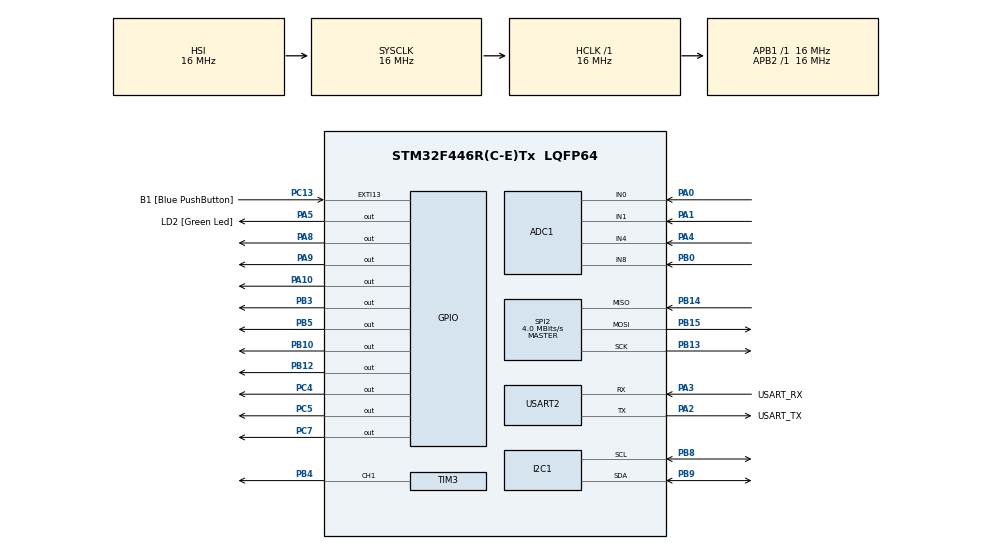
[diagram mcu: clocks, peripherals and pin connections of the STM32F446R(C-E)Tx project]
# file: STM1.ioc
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ADC1.Channel-0\#ChannelRegularConversion=ADC_CHANNEL_0
ADC1.ClockPrescaler=ADC_CLOCK_SYNC_PCLK_DIV4
ADC1.NbrOfConversion=1
ADC1.NbrOfConversionFlag=1
ADC1.Rank-0\#ChannelRegularConversion=1
ADC1.SamplingTime-0\#ChannelRegularConversion=ADC_SAMPLETIME_480CYCLES
ADC1.master=1
Dma.Request0=TIM3_CH1/TRIG
Dma.TIM3_CH1/TRIG.0.Direction=DMA_MEMORY_TO_PERIPH
Dma.TIM3_CH1/TRIG.0.FIFOMode=DMA_FIFOMODE_DISABLE
Dma.TIM3_CH1/TRIG.0.Instance=DMA1_Stream4
Dma.TIM3_CH1/TRIG.0.MemDataAlignment=DMA_MDATAALIGN_HALFWORD
Dma.TIM3_CH1/TRIG.0.MemInc=DMA_MINC_ENABLE
Dma.TIM3_CH1/TRIG.0.Mode=DMA_NORMAL
Dma.TIM3_CH1/TRIG.0.PeriphDataAlignment=DMA_PDATAALIGN_HALFWORD
Dma.TIM3_CH1/TRIG.0.PeriphInc=DMA_PINC_DISABLE
Dma.TIM3_CH1/TRIG.0.Priority=DMA_PRIORITY_VERY_HIGH
I2C1.OwnAddress=16
Mcu.Family=STM32F4
Mcu.Name=STM32F446R(C-E)Tx
Mcu.Package=LQFP64
NVIC.DMA1_Stream4_IRQn=true\:0\:0\:false\:false\:true\:false\:true\:true
NVIC.I2C1_ER_IRQn=true\:0\:0\:false\:false\:true\:true\:true\:true
NVIC.I2C1_EV_IRQn=true\:0\:0\:false\:false\:true\:true\:true\:true
NVIC.PriorityGroup=NVIC_PRIORITYGROUP_0
PA0-WKUP.Signal=ADCx_IN0
PA1.Signal=ADCx_IN1
PA10.Signal=GPIO_Output
PA13.GPIO_Label=TMS
PA13.Mode=Serial_Wire
PA13.Signal=SYS_JTMS-SWDIO
PA14.GPIO_Label=TCK
PA14.Mode=Serial_Wire
PA14.Signal=SYS_JTCK-SWCLK
PA2.GPIO_Label=USART_TX
PA2.Mode=Asynchronous
PA2.Signal=USART2_TX
PA3.GPIO_Label=USART_RX
PA3.Mode=Asynchronous
PA3.Signal=USART2_RX
PA4.Signal=ADCx_IN4
PA5.GPIO_Label=LD2 [Green Led]
PA5.Signal=GPIO_Output
PA8.Signal=GPIO_Output
PA9.Signal=GPIO_Output
PB0.Signal=ADCx_IN8
PB10.Signal=GPIO_Output
PB12.GPIO_Speed=GPIO_SPEED_FREQ_HIGH
PB12.PinState=GPIO_PIN_SET
PB12.Signal=GPIO_Output
PB13.Mode=Full_Duplex_Master
PB13.Signal=SPI2_SCK
PB14.Mode=Full_Duplex_Master
PB14.Signal=SPI2_MISO
PB15.Mode=Full_Duplex_Master
PB15.Signal=SPI2_MOSI
PB3.Signal=GPIO_Output
PB4.GPIO_Speed=GPIO_SPEED_FREQ_VERY_HIGH
PB4.Signal=S_TIM3_CH1
PB5.Signal=GPIO_Output
PB8.GPIO_Pu=GPIO_PULLUP
PB8.Mode=I2C
PB8.Signal=I2C1_SCL
PB9.GPIO_Pu=GPIO_PULLUP
PB9.Mode=I2C
PB9.Signal=I2C1_SDA
PC13.GPIO_Label=B1 [Blue PushButton]
PC13.GPIO_ModeDefaultEXTI=GPIO_MODE_IT_FALLING
PC13.Signal=GPXTI13
PC14-OSC32_IN.Signal=RCC_OSC32_IN
PC15-OSC32_OUT.Signal=RCC_OSC32_OUT
PC4.GPIO_Speed=GPIO_SPEED_FREQ_HIGH
PC4.PinState=GPIO_PIN_SET
PC4.Signal=GPIO_Output
PC5.GPIO_Speed=GPIO_SPEED_FREQ_HIGH
PC5.Signal=GPIO_Output
PC7.Signal=GPIO_Output
PH0-OSC_IN.Signal=RCC_OSC_IN
PH1-OSC_OUT.Signal=RCC_OSC_OUT
ProjectManager.HeapSize=0x200
ProjectManager.StackSize=0x400
ProjectManager.TargetToolchain=STM32CubeIDE
RCC.AHBFreq_Value=16000000
RCC.APB1Freq_Value=16000000
RCC.APB1TimFreq_Value=16000000
RCC.APB2Freq_Value=16000000
RCC.APB2TimFreq_Value=16000000
RCC.CortexFreq_Value=16000000
RCC.FLatency-AdvancedSettings=FLASH_LATENCY_0
RCC.HCLKFreq_Value=16000000
RCC.HSE_VALUE=8000000
RCC.HSI_VALUE=16000000
RCC.LSE_VALUE=32768
RCC.PLLN=336
RCC.PLLP=RCC_PLLP_DIV4
RCC.SYSCLKFreq_VALUE=16000000
RCC.USBFreq_Value=168000000
RCC.VCOOutputFreq_Value=336000000
SH.ADCx_IN0.0=ADC1_IN0,IN0
SH.ADCx_IN1.0=ADC1_IN1,IN1
SH.ADCx_IN4.0=ADC1_IN4,IN4
SH.ADCx_IN8.0=ADC1_IN8,IN8
SH.S_TIM3_CH1.0=TIM3_CH1,PWM Generation1 CH1
SPI2.BaudRatePrescaler=SPI_BAUDRATEPRESCALER_4
SPI2.CalculateBaudRate=4.0 MBits/s
SPI2.Direction=SPI_DIRECTION_2LINES
SPI2.Mode=SPI_MODE_MASTER
SPI2.VirtualType=VM_MASTER
TIM3.Channel-PWM\ Generation1\ CH1=TIM_CHANNEL_1
TIM3.Period=19
USART2.VirtualMode=VM_ASYNC
VP_TIM3_VS_ClockSourceINT.Mode=Internal
board=NUCLEO-F446RE

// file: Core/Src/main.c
/* USER CODE BEGIN Header */
/**
  ******************************************************************************
  * @file           : main.c
  * @brief          : STM1 - Cuatro LDR + cuatro NeoPixels independientes
  ******************************************************************************
  * @attention
  *
  * Copyright (c) 2026 STMicroelectronics.
  * All rights reserved.
  *
  * This software is licensed under terms that can be found in the LICENSE file
  * in the root directory of this software component.
  * If no LICENSE file comes with this software, it is provided AS-IS.
  *
  ******************************************************************************
  */
/* USER CODE END Header */
#include "main.h"
/* USER CODE BEGIN Includes */
#include "tft_parqueo.h"
#include <stdio.h>
#include <string.h>
/* USER CODE END Includes */
/* USER CODE BEGIN PD */
#define PRIMER_PARQUEO           1U
#define NUM_LDR                  4U
#define MUESTRAS_ADC             16U
#define MUESTRAS_CALIBRACION      32U
#define ESPERA_CALIBRACION_MS     3000U
#define PERIODO_REPORTE_MS        300U
/*
 * Porcentajes respecto a la lectura con el LDR descubierto.
 * Son valores iniciales para comprobar el montaje.
 *
 * Lectura <= 60 %: ocupado.
 * Lectura >= 80 %: libre.
 * Entre ambos limites: conservar estado.
 */
#define PORCENTAJE_OCUPADO        60U
#define PORCENTAJE_LIBRE          80U
/* USER CODE END PD */
ADC_HandleTypeDef hadc1;
I2C_HandleTypeDef hi2c1;
SPI_HandleTypeDef hspi2;
TIM_HandleTypeDef htim3;
DMA_HandleTypeDef hdma_tim3_ch1_trig;
UART_HandleTypeDef huart2;
/* USER CODE BEGIN PV */
/*
 * P1: A0 -> PA0 -> ADC1_IN0
 * P2: A1 -> PA1 -> ADC1_IN1
 * P3: A2 -> PA4 -> ADC1_IN4
 * P4: A3 -> PB0 -> ADC1_IN8
 */
static const uint32_t canales[NUM_LDR] = {
    ADC_CHANNEL_0,
    ADC_CHANNEL_1,
    ADC_CHANNEL_4,
    ADC_CHANNEL_8
};
static uint16_t lectura[NUM_LDR] = {0};
static uint16_t referencia[NUM_LDR] = {0};
static uint16_t umbral_ocupado[NUM_LDR] = {0};
static uint16_t umbral_libre[NUM_LDR] = {0};
static uint8_t ocupado[NUM_LDR] = {0};
static uint8_t calibrado = 0U;
/*
 * Bits: 0000 P1 P2 P3 P4.
 * Se publica por I2C al ESP32 cuando las lecturas son validas.
 */
static uint8_t estado_local = 0U;
static char mensaje[192];
/* NeoPixels WS2812B: PB4/D5, TIM3_CH1, 16 MHz, PSC=0, ARR=19. */
static uint16_t pwm_buffer[736] __attribute__((aligned(4)));
static volatile uint8_t dma_terminado = 0U;
static volatile uint8_t dma_error = 0U;
static uint8_t neo_habilitado = 0U;
static uint8_t lectura_valida[NUM_LDR] = {0};
/* I2C: bytes persistentes, nunca buffers locales de una interrupcion.
 * 0xFF indica dato LOCAL invalido; el ESP32 de prueba ya lo rechaza.
 * No se utiliza 0xFF como error en el byte GLOBAL (alli significa 8 ocupados).
 */
static volatile uint8_t i2c_local = 0xFFU;
static uint8_t i2c_tx = 0U;
static uint8_t i2c_rx = 0U;
static volatile uint8_t global_recibido = 0U;
static volatile uint8_t global_disponible = 0U;
static volatile uint32_t global_tick = 0U;
static volatile uint32_t i2c_lecturas = 0U;
static volatile uint32_t i2c_escrituras = 0U;
static volatile uint32_t i2c_errores = 0U;
static volatile uint32_t i2c_ultimo_error = 0U;
static volatile uint8_t i2c_recuperar = 0U;
static uint32_t i2c_ultimo_reintento = 0U;
/* Preparado para el display: usar el numero solo cuando global_vigente=1. */
static uint8_t espacios_libres_global = 0U;
static uint8_t global_vigente = 0U;
/* USER CODE END PV */
void SystemClock_Config(void);
static void MX_GPIO_Init(void);
static void MX_DMA_Init(void);
static void MX_ADC1_Init(void);
static void MX_USART2_UART_Init(void);
static void MX_TIM3_Init(void);
static void MX_I2C1_Init(void);
static void MX_SPI2_Init(void);
/* USER CODE BEGIN PFP */
static void Serial_Enviar(const char *texto);
static HAL_StatusTypeDef LDR_Leer(uint32_t canal, uint16_t *valor);
static HAL_StatusTypeDef LDR_Calibrar(void);
static void LDR_ActualizarEstados(void);
/* USER CODE END PFP */
/* USER CODE BEGIN 0 */
static void Serial_Enviar(const char *texto)
{
    HAL_UART_Transmit(
        &huart2,
        (uint8_t *)texto,
        (uint16_t)strlen(texto),
        200U
    );
}
static HAL_StatusTypeDef LDR_Leer(uint32_t canal, uint16_t *valor)
{
    ADC_ChannelConfTypeDef config = {0};
    uint32_t suma = 0U;
    config.Channel = canal;
    config.Rank = 1;
    config.SamplingTime = ADC_SAMPLETIME_480CYCLES;
    if (HAL_ADC_ConfigChannel(&hadc1, &config) != HAL_OK)
    {
        return HAL_ERROR;
    }
    /*
     * Se descarta la primera conversion despues de cambiar
     * de canal y se promedian las siguientes.
     */
    for (uint32_t n = 0U; n <= MUESTRAS_ADC; n++)
    {
        if (HAL_ADC_Start(&hadc1) != HAL_OK)
        {
            HAL_ADC_Stop(&hadc1);
            return HAL_ERROR;
        }
        if (HAL_ADC_PollForConversion(&hadc1, 20U) != HAL_OK)
        {
            HAL_ADC_Stop(&hadc1);
            return HAL_ERROR;
        }
        uint32_t muestra = HAL_ADC_GetValue(&hadc1);
        if (HAL_ADC_Stop(&hadc1) != HAL_OK)
        {
            return HAL_ERROR;
        }
        if (n > 0U)
        {
            suma += muestra;
        }
    }
    *valor = (uint16_t)(suma / MUESTRAS_ADC);
    return HAL_OK;
}
static HAL_StatusTypeDef LDR_Calibrar(void)
{
    uint32_t suma[NUM_LDR] = {0};
    uint16_t muestra = 0U;
    uint8_t referencia_invalida = 0U;
    Serial_Enviar(
        "\r\nCALIBRACION: deja los cuatro LDR descubiertos.\r\n"
        "La medicion comienza en 3 segundos.\r\n"
    );
    HAL_Delay(ESPERA_CALIBRACION_MS);
    Serial_Enviar("Midiendo... manten los LDR descubiertos.\r\n");
    for (uint32_t n = 0U; n < MUESTRAS_CALIBRACION; n++)
    {
        for (uint8_t i = 0U; i < NUM_LDR; i++)
        {
            if (LDR_Leer(canales[i], &muestra) != HAL_OK)
            {
                Serial_Enviar("ERROR: fallo del ADC al calibrar.\r\n");
                return HAL_ERROR;
            }
            suma[i] += muestra;
        }
        HAL_Delay(10U);
    }
    for (uint8_t i = 0U; i < NUM_LDR; i++)
    {
        referencia[i] =
            (uint16_t)(suma[i] / MUESTRAS_CALIBRACION);
        umbral_ocupado[i] = (uint16_t)(
            ((uint32_t)referencia[i] * PORCENTAJE_OCUPADO) / 100U
        );
        umbral_libre[i] = (uint16_t)(
            ((uint32_t)referencia[i] * PORCENTAJE_LIBRE) / 100U
        );
        ocupado[i] = 0U;
        snprintf(
            mensaje,
            sizeof(mensaje),
            "P%u | Referencia=%u | Ocupado<=%u | Libre>=%u\r\n",
            (unsigned int)(PRIMER_PARQUEO + i),
            (unsigned int)referencia[i],
            (unsigned int)umbral_ocupado[i],
            (unsigned int)umbral_libre[i]
        );
        Serial_Enviar(mensaje);
        /*
         * Evita usar umbrales nulos o iguales por falta
         * de senal. No sustituye la comprobacion del contraste.
         */
        if ((umbral_ocupado[i] == 0U) ||
            (umbral_libre[i] <= umbral_ocupado[i]))
        {
            referencia_invalida = 1U;
        }
    }
    if (referencia_invalida)
    {
        Serial_Enviar(
            "\r\nReferencia insuficiente.\r\n"
            "Revisa luz, conexiones y GND; luego presiona RESET.\r\n"
        );
        return HAL_ERROR;
    }
    estado_local = 0U;
    Serial_Enviar(
        "\r\nCalibracion terminada.\r\n"
        "Ahora puedes tapar cada LDR para probarlo.\r\n"
        "1 = ocupado | 0 = libre\r\n\r\n"
    );
    return HAL_OK;
}
static void LDR_ActualizarEstados(void)
{
    estado_local = 0U;
    for (uint8_t i = 0U; i < NUM_LDR; i++)
    {
        if (lectura_valida[i] && lectura[i] <= umbral_ocupado[i])
        {
            ocupado[i] = 1U;
        }
        else if (lectura_valida[i] && lectura[i] >= umbral_libre[i])
        {
            ocupado[i] = 0U;
        }
        /*
         * Entre ambos umbrales se conserva el estado.
         *
         * P1 -> bit 3
         * P2 -> bit 2
         * P3 -> bit 1
         * P4 -> bit 0
         */
        estado_local |= (uint8_t)(ocupado[i] << (3U - i));
    }
}
/* mode: 0=apagados, 1=estados LDR, 2=error general azul.
 * Reset bajo de 400 us al principio y al final; datos en orden GRB.
 */
static void NeoPixel_Preparar(uint8_t mode)
{
    memset(pwm_buffer, 0, sizeof(pwm_buffer));
    uint32_t posicion = 320U;
    for (uint8_t i = 0U; i < NUM_LDR; i++)
    {
        uint32_t grb = 0U;
        if ((mode == 2U) || ((mode == 1U) && !lectura_valida[i]))
            grb = 32U; /* Azul: no interpretar como libre/ocupado. */
        else if (mode == 1U)
            grb = ocupado[i] ? (32UL << 8) : (32UL << 16);
        for (int32_t bit = 23; bit >= 0; bit--)
            pwm_buffer[posicion++] = (grb & (1UL << bit)) ? 13U : 6U;
    }
}
static void NeoPixel_Pin(uint8_t pwm)
{
    GPIO_InitTypeDef gpio = {0};
    __HAL_RCC_GPIOB_CLK_ENABLE();
    HAL_GPIO_WritePin(GPIOB, GPIO_PIN_4, GPIO_PIN_RESET);
    gpio.Pin = GPIO_PIN_4;
    gpio.Mode = pwm ? GPIO_MODE_AF_PP : GPIO_MODE_OUTPUT_PP;
    gpio.Pull = GPIO_NOPULL;
    gpio.Speed = GPIO_SPEED_FREQ_HIGH;
    gpio.Alternate = GPIO_AF2_TIM3;
    HAL_GPIO_Init(GPIOB, &gpio);
}
static uint8_t NeoPixel_VerificarDMA(void)
{
    DMA_HandleTypeDef *dma = htim3.hdma[TIM_DMA_ID_CC1];
    if ((dma == NULL) || (dma->Instance != DMA1_Stream4)) return 0U;
    return (dma->Init.Channel == DMA_CHANNEL_5) &&
           (dma->Init.Direction == DMA_MEMORY_TO_PERIPH) &&
           (dma->Init.PeriphInc == DMA_PINC_DISABLE) &&
           (dma->Init.MemInc == DMA_MINC_ENABLE) &&
           (dma->Init.PeriphDataAlignment == DMA_PDATAALIGN_HALFWORD) &&
           (dma->Init.MemDataAlignment == DMA_MDATAALIGN_HALFWORD) &&
           (dma->Init.Mode == DMA_NORMAL);
}
static HAL_StatusTypeDef NeoPixel_Enviar(uint8_t mode)
{
    if (!neo_habilitado) return HAL_ERROR;
    NeoPixel_Preparar(mode);
    dma_terminado = 0U;
    dma_error = 0U;
    __HAL_TIM_SET_COMPARE(&htim3, TIM_CHANNEL_1, 0U);
    __HAL_TIM_SET_COUNTER(&htim3, 0U);
    htim3.Instance->EGR = TIM_EGR_UG;
    __HAL_TIM_CLEAR_FLAG(&htim3, TIM_FLAG_UPDATE | TIM_FLAG_CC1);
    NeoPixel_Pin(1U);
    HAL_StatusTypeDef resultado = HAL_TIM_PWM_Start_DMA(
        &htim3, TIM_CHANNEL_1, (uint32_t *)pwm_buffer, 736U);
    if (resultado == HAL_OK)
    {
        uint32_t inicio = HAL_GetTick();
        while (!dma_terminado && !dma_error)
        {
            if ((HAL_GetTick() - inicio) >= 100U)
            {
                resultado = HAL_TIMEOUT;
                break;
            }
        }
        if (dma_error) resultado = HAL_ERROR;
    }
    HAL_TIM_PWM_Stop_DMA(&htim3, TIM_CHANNEL_1);
    NeoPixel_Pin(0U);
    HAL_Delay(1U);
    if (resultado != HAL_OK)
    {
        neo_habilitado = 0U;
        Serial_Enviar("ERROR NeoPixel/DMA: envio suspendido hasta RESET.\r\n"
                      "Revisa MSP y DMA1_Stream4_IRQHandler. Los LDR siguen activos.\r\n");
    }
    return resultado;
}
/* I2C prioridad 0, DMA NeoPixel 1, SysTick 15.
 * No ejecutar UART, esperas o conversiones ADC en callbacks I2C.
 */
static void I2C_Prioridades(void)
{
    HAL_NVIC_SetPriorityGrouping(NVIC_PRIORITYGROUP_4);
    HAL_NVIC_SetPriority(I2C1_EV_IRQn, 0U, 0U);
    HAL_NVIC_SetPriority(I2C1_ER_IRQn, 0U, 0U);
    HAL_NVIC_SetPriority(DMA1_Stream4_IRQn, 1U, 0U);
    HAL_NVIC_SetPriority(SysTick_IRQn, 15U, 0U);
    HAL_NVIC_EnableIRQ(I2C1_EV_IRQn);
    HAL_NVIC_EnableIRQ(I2C1_ER_IRQn);
}
static void I2C_Escuchar(void)
{
    if (HAL_I2C_EnableListen_IT(&hi2c1) != HAL_OK)
        i2c_recuperar = 1U;
}
/* Recuperacion fuera de las interrupciones, sin detener los sensores.
 * Un corto o SDA/SCL retenida externamente requiere revisar el bus fisico.
 */
static void I2C_Servicio(void)
{
    if (!i2c_recuperar) return;
    uint32_t ahora = HAL_GetTick();
    if ((ahora - i2c_ultimo_reintento) < 250U) return;
    i2c_ultimo_reintento = ahora;
    HAL_NVIC_DisableIRQ(I2C1_EV_IRQn);
    HAL_NVIC_DisableIRQ(I2C1_ER_IRQn);
    i2c_recuperar = 0U;
    HAL_StatusTypeDef resultado = HAL_I2C_DeInit(&hi2c1);
    if (resultado == HAL_OK) resultado = HAL_I2C_Init(&hi2c1);
    HAL_NVIC_ClearPendingIRQ(I2C1_EV_IRQn);
    HAL_NVIC_ClearPendingIRQ(I2C1_ER_IRQn);
    I2C_Prioridades();
    if (resultado == HAL_OK) I2C_Escuchar();
    else i2c_recuperar = 1U;
}
static uint8_t ContarLibres(uint8_t dato)
{
    uint8_t libres = 8U;
    for (uint8_t i = 0U; i < 8U; i++) libres -= (dato >> i) & 1U;
    return libres;
}
static void I2C_Reporte(void)
{
    /* Copia coherente de byte + fecha + contadores; secciones muy cortas. */
    uint32_t primask = __get_PRIMASK();
    __disable_irq();
    uint8_t dato = global_recibido;
    uint8_t disponible = global_disponible;
    uint32_t fecha = global_tick;
    uint32_t lecturas = i2c_lecturas;
    uint32_t escrituras = i2c_escrituras;
    uint32_t errores = i2c_errores;
    uint32_t codigo = i2c_ultimo_error;
    __set_PRIMASK(primask);
    uint32_t edad = HAL_GetTick() - fecha;
    global_vigente = disponible && (edad <= 2000U);
    if (global_vigente)
    {
        espacios_libres_global = ContarLibres(dato);
        char bits[9];
        for (uint8_t i = 0U; i < 8U; i++)
            bits[i] = ((dato >> (7U - i)) & 1U) ? '1' : '0';
        bits[8] = '\0';
        snprintf(mensaje, sizeof(mensaje),
                 "ESP32 -> GLOBAL P1-P8: %s | Libres: %u | Edad: %lu ms\r\n",
                 bits, (unsigned)espacios_libres_global, (unsigned long)edad);
        Serial_Enviar(mensaje);
    }
    else
        Serial_Enviar(disponible ?
          "ESP32: dato global VENCIDO. Libres no disponibles; control local activo.\r\n" :
          "ESP32: sin estado global recibido. Control local activo.\r\n");
    snprintf(mensaje, sizeof(mensaje),
             "I2C: lecturas ESP=%lu | globales RX=%lu | errores=%lu | ultimo=0x%08lX\r\n",
             (unsigned long)lecturas, (unsigned long)escrituras,
             (unsigned long)errores, (unsigned long)codigo);
    Serial_Enviar(mensaje);
}
/* Actualiza desde una copia coherente del byte global y su fecha.
 * Se dibuja fuera de ISR con I2C habilitado; no modifica estado_local.
 */
static void TFT_Servicio(void)
{
    static uint32_t ultima_revision = 0U;
    static uint8_t error_reportado = 0U;
    uint32_t ahora = HAL_GetTick();
    if ((uint32_t)(ahora - ultima_revision) < 100U) return;
    ultima_revision = ahora;
    uint32_t primask = __get_PRIMASK();
    __disable_irq();
    uint8_t bits = global_recibido;
    uint8_t disponible = global_disponible;
    uint32_t fecha = global_tick;
    ahora = HAL_GetTick();
    __set_PRIMASK(primask);
    uint8_t vigente = disponible && ((uint32_t)(ahora-fecha) <= 2000U);
    TFT_Parqueo_Actualizar(bits,vigente);
    if (TFT_Parqueo_Error() && !error_reportado) {
        error_reportado=1U;
        Serial_Enviar("ERROR TFT SPI. LDR, NeoPixels e I2C continuan activos. Revisar y reiniciar.\r\n");
    }
}
/* USER CODE END 0 */
int main(void)
{
  /* MCU Configuration--------------------------------------------------------*/
  /* Reset of all peripherals, Initializes the Flash interface and the Systick. */
  HAL_Init();
  /* Configure the system clock */
  SystemClock_Config();
  /* Initialize all configured peripherals */
  MX_GPIO_Init();
  MX_DMA_Init();
  MX_ADC1_Init();
  MX_USART2_UART_Init();
  MX_TIM3_Init();
  MX_I2C1_Init();
  MX_SPI2_Init();
  /* USER CODE BEGIN 2 */
    I2C_Prioridades();
    I2C_Escuchar();
    Serial_Enviar("\r\nSTM1 - VERSION TFT + I2C + LDR + NEOPIXEL - direccion 0x10\r\n");
    NeoPixel_Pin(0U);
    HAL_Delay(10U);
    Serial_Enviar("\r\nSTM1: LDR + NEOPIXEL | P1-P4\r\n"
                  "Datos NeoPixel: D5/PB4. Brillo: 32/255.\r\n"
                  "Rojo=ocupado; verde=libre; azul=error.\r\n");
    neo_habilitado = NeoPixel_VerificarDMA();
    if (!neo_habilitado)
        Serial_Enviar("ERROR configuracion DMA: Stream4/Channel5, Normal, Half Word.\r\n");
    (void)NeoPixel_Enviar(0U);
    if (LDR_Calibrar() == HAL_OK) calibrado = 1U;
    else Serial_Enviar("Calibracion fallida: revisar y reiniciar con LDR descubiertos.\r\n");
    (void)TFT_Parqueo_Init();
    Serial_Enviar("TFT: 8 parqueos desde ESP32; sin dato vigente se muestra SIN CONEXION.\r\n");
  /* USER CODE END 2 */
  /* Infinite loop */
  /* USER CODE BEGIN WHILE */
  while (1)
  {
      I2C_Servicio();
      uint8_t todas_validas = 1U;
      for (uint8_t i = 0U; i < NUM_LDR; i++)
      {
          lectura_valida[i] = (LDR_Leer(canales[i], &lectura[i]) == HAL_OK);
          if (!lectura_valida[i]) todas_validas = 0U;
      }
      if (calibrado)
      {
          LDR_ActualizarEstados();
          /* Publicar antes de DMA y UART. Escritura atomica de un byte. */
          i2c_local = todas_validas ? estado_local : 0xFFU;
          (void)NeoPixel_Enviar(1U);
      }
      else
      {
          i2c_local = 0xFFU;
          (void)NeoPixel_Enviar(2U);
      }
      for (uint8_t i = 0U; i < NUM_LDR; i++)
      {
          if (!lectura_valida[i])
              snprintf(mensaje, sizeof(mensaje), "P%u | ERROR ADC | AZUL\r\n",
                       (unsigned)(PRIMER_PARQUEO + i));
          else
              snprintf(mensaje, sizeof(mensaje), "P%u | ADC=%4u | %s\r\n",
                       (unsigned)(PRIMER_PARQUEO + i), (unsigned)lectura[i],
                       !calibrado ? "SIN CALIBRAR - AZUL" :
                       ocupado[i] ? "OCUPADO - ROJO" : "LIBRE - VERDE");
          Serial_Enviar(mensaje);
      }
      if (calibrado && todas_validas)
      {
          snprintf(mensaje, sizeof(mensaje),
                   "Estado local: %u%u%u%u | Byte: 0x%02X\r\n",
                   (unsigned)ocupado[0], (unsigned)ocupado[1],
                   (unsigned)ocupado[2], (unsigned)ocupado[3],
                   (unsigned)estado_local);
          Serial_Enviar(mensaje);
      }
      else
          Serial_Enviar("Estado local NO VALIDO para comunicar ocupacion.\r\n");
      Serial_Enviar(neo_habilitado ? "NeoPixel: DMA operativo (sin confirmacion del LED).\r\n\r\n" :
                                    "NeoPixel: envio deshabilitado por error.\r\n\r\n");
      I2C_Reporte();
      TFT_Servicio();
      uint32_t pausa = HAL_GetTick();
      while ((HAL_GetTick() - pausa) < PERIODO_REPORTE_MS)
      {
          I2C_Servicio();
          TFT_Servicio();
          HAL_Delay(1U);
      }
    /* USER CODE END WHILE */
  }
}
void SystemClock_Config(void)
{
  RCC_OscInitTypeDef RCC_OscInitStruct = {0};
  RCC_ClkInitTypeDef RCC_ClkInitStruct = {0};
  /** Configure the main internal regulator output voltage
  */
  __HAL_RCC_PWR_CLK_ENABLE();
  __HAL_PWR_VOLTAGESCALING_CONFIG(PWR_REGULATOR_VOLTAGE_SCALE3);
  /** Initializes the RCC Oscillators according to the specified parameters
  * in the RCC_OscInitTypeDef structure.
  */
  RCC_OscInitStruct.OscillatorType = RCC_OSCILLATORTYPE_HSI;
  RCC_OscInitStruct.HSIState = RCC_HSI_ON;
  RCC_OscInitStruct.HSICalibrationValue = RCC_HSICALIBRATION_DEFAULT;
  RCC_OscInitStruct.PLL.PLLState = RCC_PLL_NONE;
  if (HAL_RCC_OscConfig(&RCC_OscInitStruct) != HAL_OK)
  {
    Error_Handler();
  }
  /** Initializes the CPU, AHB and APB buses clocks
  */
  RCC_ClkInitStruct.ClockType = RCC_CLOCKTYPE_HCLK|RCC_CLOCKTYPE_SYSCLK
                              |RCC_CLOCKTYPE_PCLK1|RCC_CLOCKTYPE_PCLK2;
  RCC_ClkInitStruct.SYSCLKSource = RCC_SYSCLKSOURCE_HSI;
  RCC_ClkInitStruct.AHBCLKDivider = RCC_SYSCLK_DIV1;
  RCC_ClkInitStruct.APB1CLKDivider = RCC_HCLK_DIV1;
  RCC_ClkInitStruct.APB2CLKDivider = RCC_HCLK_DIV1;
  if (HAL_RCC_ClockConfig(&RCC_ClkInitStruct, FLASH_LATENCY_0) != HAL_OK)
  {
    Error_Handler();
  }
}
static void MX_ADC1_Init(void)
{
  /* USER CODE BEGIN ADC1_Init 0 */
  __HAL_RCC_ADC1_CLK_ENABLE();
  /* USER CODE END ADC1_Init 0 */
  ADC_ChannelConfTypeDef sConfig = {0};
  /** Configure the global features of the ADC (Clock, Resolution, Data Alignment and number of conversion)
  */
  hadc1.Instance = ADC1;
  hadc1.Init.ClockPrescaler = ADC_CLOCK_SYNC_PCLK_DIV4;
  hadc1.Init.Resolution = ADC_RESOLUTION_12B;
  hadc1.Init.ScanConvMode = DISABLE;
  hadc1.Init.ContinuousConvMode = DISABLE;
  hadc1.Init.DiscontinuousConvMode = DISABLE;
  hadc1.Init.ExternalTrigConvEdge = ADC_EXTERNALTRIGCONVEDGE_NONE;
  hadc1.Init.ExternalTrigConv = ADC_SOFTWARE_START;
  hadc1.Init.DataAlign = ADC_DATAALIGN_RIGHT;
  hadc1.Init.NbrOfConversion = 1;
  hadc1.Init.DMAContinuousRequests = DISABLE;
  hadc1.Init.EOCSelection = ADC_EOC_SINGLE_CONV;
  if (HAL_ADC_Init(&hadc1) != HAL_OK)
  {
    Error_Handler();
  }
  /** Configure for the selected ADC regular channel its corresponding rank in the sequencer and its sample time.
  */
  sConfig.Channel = ADC_CHANNEL_0;
  sConfig.Rank = 1;
  sConfig.SamplingTime = ADC_SAMPLETIME_480CYCLES;
  if (HAL_ADC_ConfigChannel(&hadc1, &sConfig) != HAL_OK)
  {
    Error_Handler();
  }
  /* USER CODE BEGIN ADC1_Init 2 */
    /*
     * Configuracion explicita de las cuatro entradas.
     * Complementa la inicializacion MSP generada por CubeMX.
     */
    GPIO_InitTypeDef gpio_ldr = {0};
    __HAL_RCC_GPIOA_CLK_ENABLE();
    __HAL_RCC_GPIOB_CLK_ENABLE();
    __HAL_RCC_ADC1_CLK_ENABLE();
    gpio_ldr.Pin = GPIO_PIN_0 | GPIO_PIN_1 | GPIO_PIN_4;
    gpio_ldr.Mode = GPIO_MODE_ANALOG;
    gpio_ldr.Pull = GPIO_NOPULL;
    HAL_GPIO_Init(GPIOA, &gpio_ldr);
    gpio_ldr.Pin = GPIO_PIN_0;
    HAL_GPIO_Init(GPIOB, &gpio_ldr);
  /* USER CODE END ADC1_Init 2 */
}
static void MX_I2C1_Init(void)
{
  hi2c1.Instance = I2C1;
  hi2c1.Init.ClockSpeed = 100000;
  hi2c1.Init.DutyCycle = I2C_DUTYCYCLE_2;
  hi2c1.Init.OwnAddress1 = 32;
  hi2c1.Init.AddressingMode = I2C_ADDRESSINGMODE_7BIT;
  hi2c1.Init.DualAddressMode = I2C_DUALADDRESS_DISABLE;
  hi2c1.Init.OwnAddress2 = 0;
  hi2c1.Init.GeneralCallMode = I2C_GENERALCALL_DISABLE;
  hi2c1.Init.NoStretchMode = I2C_NOSTRETCH_DISABLE;
  if (HAL_I2C_Init(&hi2c1) != HAL_OK)
  {
    Error_Handler();
  }
  /* USER CODE BEGIN I2C1_Init 2 */
  /* Mantener direccion incluso si se regenera con un .ioc antiguo. */
  hi2c1.Init.OwnAddress1 = (0x10U << 1);
  if (HAL_I2C_Init(&hi2c1) != HAL_OK) Error_Handler();
  /* USER CODE END I2C1_Init 2 */
}
static void MX_SPI2_Init(void)
{
  /* SPI2 parameter configuration*/
  hspi2.Instance = SPI2;
  hspi2.Init.Mode = SPI_MODE_MASTER;
  hspi2.Init.Direction = SPI_DIRECTION_2LINES;
  hspi2.Init.DataSize = SPI_DATASIZE_8BIT;
  hspi2.Init.CLKPolarity = SPI_POLARITY_LOW;
  hspi2.Init.CLKPhase = SPI_PHASE_1EDGE;
  hspi2.Init.NSS = SPI_NSS_SOFT;
  hspi2.Init.BaudRatePrescaler = SPI_BAUDRATEPRESCALER_4;
  hspi2.Init.FirstBit = SPI_FIRSTBIT_MSB;
  hspi2.Init.TIMode = SPI_TIMODE_DISABLE;
  hspi2.Init.CRCCalculation = SPI_CRCCALCULATION_DISABLE;
  hspi2.Init.CRCPolynomial = 10;
  if (HAL_SPI_Init(&hspi2) != HAL_OK)
  {
    Error_Handler();
  }
}
static void MX_TIM3_Init(void)
{
  TIM_ClockConfigTypeDef sClockSourceConfig = {0};
  TIM_MasterConfigTypeDef sMasterConfig = {0};
  TIM_OC_InitTypeDef sConfigOC = {0};
  htim3.Instance = TIM3;
  htim3.Init.Prescaler = 0;
  htim3.Init.CounterMode = TIM_COUNTERMODE_UP;
  htim3.Init.Period = 19;
  htim3.Init.ClockDivision = TIM_CLOCKDIVISION_DIV1;
  htim3.Init.AutoReloadPreload = TIM_AUTORELOAD_PRELOAD_DISABLE;
  if (HAL_TIM_Base_Init(&htim3) != HAL_OK)
  {
    Error_Handler();
  }
  sClockSourceConfig.ClockSource = TIM_CLOCKSOURCE_INTERNAL;
  if (HAL_TIM_ConfigClockSource(&htim3, &sClockSourceConfig) != HAL_OK)
  {
    Error_Handler();
  }
  if (HAL_TIM_PWM_Init(&htim3) != HAL_OK)
  {
    Error_Handler();
  }
  sMasterConfig.MasterOutputTrigger = TIM_TRGO_RESET;
  sMasterConfig.MasterSlaveMode = TIM_MASTERSLAVEMODE_DISABLE;
  if (HAL_TIMEx_MasterConfigSynchronization(&htim3, &sMasterConfig) != HAL_OK)
  {
    Error_Handler();
  }
  sConfigOC.OCMode = TIM_OCMODE_PWM1;
  sConfigOC.Pulse = 0;
  sConfigOC.OCPolarity = TIM_OCPOLARITY_HIGH;
  sConfigOC.OCFastMode = TIM_OCFAST_DISABLE;
  if (HAL_TIM_PWM_ConfigChannel(&htim3, &sConfigOC, TIM_CHANNEL_1) != HAL_OK)
  {
    Error_Handler();
  }
  /* USER CODE BEGIN TIM3_Init 2 */
  __HAL_TIM_ENABLE_OCxPRELOAD(&htim3, TIM_CHANNEL_1);
  /* USER CODE END TIM3_Init 2 */
  HAL_TIM_MspPostInit(&htim3);
}
static void MX_USART2_UART_Init(void)
{
  huart2.Instance = USART2;
  huart2.Init.BaudRate = 115200;
  huart2.Init.WordLength = UART_WORDLENGTH_8B;
  huart2.Init.StopBits = UART_STOPBITS_1;
  huart2.Init.Parity = UART_PARITY_NONE;
  huart2.Init.Mode = UART_MODE_TX_RX;
  huart2.Init.HwFlowCtl = UART_HWCONTROL_NONE;
  huart2.Init.OverSampling = UART_OVERSAMPLING_16;
  if (HAL_UART_Init(&huart2) != HAL_OK)
  {
    Error_Handler();
  }
}
static void MX_DMA_Init(void)
{
  /* DMA controller clock enable */
  __HAL_RCC_DMA1_CLK_ENABLE();
  /* DMA interrupt init */
  /* DMA1_Stream4_IRQn interrupt configuration */
  HAL_NVIC_SetPriority(DMA1_Stream4_IRQn, 0, 0);
  HAL_NVIC_EnableIRQ(DMA1_Stream4_IRQn);
}
static void MX_GPIO_Init(void)
{
  GPIO_InitTypeDef GPIO_InitStruct = {0};
  /* GPIO Ports Clock Enable */
  __HAL_RCC_GPIOC_CLK_ENABLE();
  __HAL_RCC_GPIOH_CLK_ENABLE();
  __HAL_RCC_GPIOA_CLK_ENABLE();
  __HAL_RCC_GPIOB_CLK_ENABLE();
  /*Configure GPIO pin Output Level */
  HAL_GPIO_WritePin(GPIOA, LD2_Pin|GPIO_PIN_8|GPIO_PIN_9|GPIO_PIN_10, GPIO_PIN_RESET);
  /*Configure GPIO pin Output Level */
  HAL_GPIO_WritePin(GPIOC, GPIO_PIN_4, GPIO_PIN_SET);
  /*Configure GPIO pin Output Level */
  HAL_GPIO_WritePin(GPIOC, GPIO_PIN_5|GPIO_PIN_7, GPIO_PIN_RESET);
  /*Configure GPIO pin Output Level */
  HAL_GPIO_WritePin(GPIOB, GPIO_PIN_10|GPIO_PIN_3|GPIO_PIN_5, GPIO_PIN_RESET);
  /*Configure GPIO pin Output Level */
  HAL_GPIO_WritePin(GPIOB, GPIO_PIN_12, GPIO_PIN_SET);
  /*Configure GPIO pin : B1_Pin */
  GPIO_InitStruct.Pin = B1_Pin;
  GPIO_InitStruct.Mode = GPIO_MODE_IT_FALLING;
  GPIO_InitStruct.Pull = GPIO_NOPULL;
  HAL_GPIO_Init(B1_GPIO_Port, &GPIO_InitStruct);
  /*Configure GPIO pins : LD2_Pin PA8 PA9 PA10 */
  GPIO_InitStruct.Pin = LD2_Pin|GPIO_PIN_8|GPIO_PIN_9|GPIO_PIN_10;
  GPIO_InitStruct.Mode = GPIO_MODE_OUTPUT_PP;
  GPIO_InitStruct.Pull = GPIO_NOPULL;
  GPIO_InitStruct.Speed = GPIO_SPEED_FREQ_LOW;
  HAL_GPIO_Init(GPIOA, &GPIO_InitStruct);
  /*Configure GPIO pins : PC4 PC5 */
  GPIO_InitStruct.Pin = GPIO_PIN_4|GPIO_PIN_5;
  GPIO_InitStruct.Mode = GPIO_MODE_OUTPUT_PP;
  GPIO_InitStruct.Pull = GPIO_NOPULL;
  GPIO_InitStruct.Speed = GPIO_SPEED_FREQ_HIGH;
  HAL_GPIO_Init(GPIOC, &GPIO_InitStruct);
  /*Configure GPIO pins : PB10 PB3 PB5 */
  GPIO_InitStruct.Pin = GPIO_PIN_10|GPIO_PIN_3|GPIO_PIN_5;
  GPIO_InitStruct.Mode = GPIO_MODE_OUTPUT_PP;
  GPIO_InitStruct.Pull = GPIO_NOPULL;
  GPIO_InitStruct.Speed = GPIO_SPEED_FREQ_LOW;
  HAL_GPIO_Init(GPIOB, &GPIO_InitStruct);
  /*Configure GPIO pin : PB12 */
  GPIO_InitStruct.Pin = GPIO_PIN_12;
  GPIO_InitStruct.Mode = GPIO_MODE_OUTPUT_PP;
  GPIO_InitStruct.Pull = GPIO_NOPULL;
  GPIO_InitStruct.Speed = GPIO_SPEED_FREQ_HIGH;
  HAL_GPIO_Init(GPIOB, &GPIO_InitStruct);
  /*Configure GPIO pin : PC7 */
  GPIO_InitStruct.Pin = GPIO_PIN_7;
  GPIO_InitStruct.Mode = GPIO_MODE_OUTPUT_PP;
  GPIO_InitStruct.Pull = GPIO_NOPULL;
  GPIO_InitStruct.Speed = GPIO_SPEED_FREQ_LOW;
  HAL_GPIO_Init(GPIOC, &GPIO_InitStruct);
}
/* USER CODE BEGIN 4 */
void HAL_I2C_AddrCallback(I2C_HandleTypeDef *hi2c,
                         uint8_t direccion, uint16_t direccion_detectada)
{
    (void)direccion_detectada;
    if (hi2c->Instance != I2C1) return;
    HAL_StatusTypeDef resultado;
    if (direccion == I2C_DIRECTION_TRANSMIT)
    {
        /* El MAESTRO transmite: STM recibe el byte global. */
        resultado = HAL_I2C_Slave_Seq_Receive_IT(
            hi2c, &i2c_rx, 1U, I2C_FIRST_AND_LAST_FRAME);
    }
    else
    {
        /* El MAESTRO lee: congelar una copia del ultimo estado local. */
        i2c_tx = i2c_local;
        resultado = HAL_I2C_Slave_Seq_Transmit_IT(
            hi2c, &i2c_tx, 1U, I2C_FIRST_AND_LAST_FRAME);
    }
    if (resultado != HAL_OK) i2c_recuperar = 1U;
}
void HAL_I2C_SlaveTxCpltCallback(I2C_HandleTypeDef *hi2c)
{
    if (hi2c->Instance == I2C1) i2c_lecturas++;
}
void HAL_I2C_SlaveRxCpltCallback(I2C_HandleTypeDef *hi2c)
{
    if (hi2c->Instance != I2C1) return;
    global_recibido = i2c_rx;
    global_tick = HAL_GetTick();
    global_disponible = 1U;
    i2c_escrituras++;
}
void HAL_I2C_ListenCpltCallback(I2C_HandleTypeDef *hi2c)
{
    if (hi2c->Instance != I2C1) return;
    if (HAL_I2C_EnableListen_IT(hi2c) != HAL_OK)
        i2c_recuperar = 1U;
}
void HAL_I2C_ErrorCallback(I2C_HandleTypeDef *hi2c)
{
    if (hi2c->Instance != I2C1) return;
    uint32_t error = HAL_I2C_GetError(hi2c);
    /* AF solo: NACK del maestro al finalizar una lectura de un byte. */
    if (error != HAL_I2C_ERROR_AF)
    {
        i2c_errores++;
        i2c_ultimo_error = error;
    }
    if (HAL_I2C_GetState(hi2c) == HAL_I2C_STATE_READY)
    {
        if (HAL_I2C_EnableListen_IT(hi2c) != HAL_OK)
            i2c_recuperar = 1U;
    }
    else if ((error != HAL_I2C_ERROR_AF) ||
             (HAL_I2C_GetState(hi2c) != HAL_I2C_STATE_LISTEN))
        i2c_recuperar = 1U;
}
void HAL_TIM_PWM_PulseFinishedCallback(TIM_HandleTypeDef *htim)
{
    if ((htim->Instance == TIM3) &&
        (htim->Channel == HAL_TIM_ACTIVE_CHANNEL_1)) dma_terminado = 1U;
}
void HAL_TIM_ErrorCallback(TIM_HandleTypeDef *htim)
{
    if (htim->Instance == TIM3) dma_error = 1U;
}
/* USER CODE END 4 */
void Error_Handler(void)
{
    __disable_irq();
    while (1)
    {
    }
}
#ifdef USE_FULL_ASSERT
/**
  * @brief  Reports the name of the source file and the source line number
  *         where the assert_param error has occurred.
  * @param  file: pointer to the source file name
  * @param  line: assert_param error line source number
  * @retval None
  */
void assert_failed(uint8_t *file, uint32_t line)
{
  /* USER CODE BEGIN 6 */
    (void)file;
    (void)line;
  /* USER CODE END 6 */
}
#endif /* USE_FULL_ASSERT */
